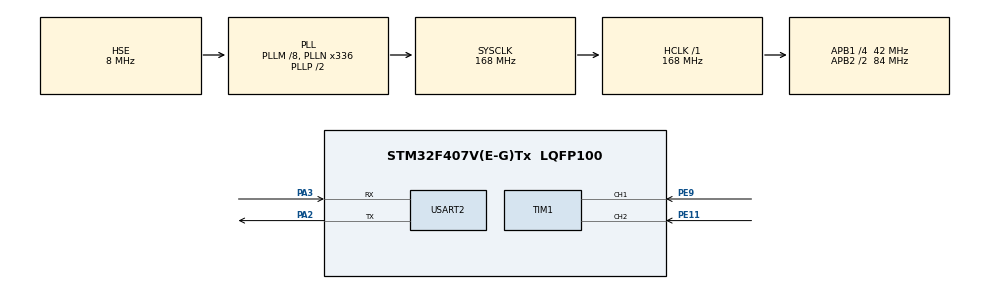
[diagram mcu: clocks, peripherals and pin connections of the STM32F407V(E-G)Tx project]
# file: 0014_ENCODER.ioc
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Mcu.Family=STM32F4
Mcu.Name=STM32F407V(E-G)Tx
Mcu.Package=LQFP100
NVIC.PriorityGroup=NVIC_PRIORITYGROUP_0
NVIC.TIM1_UP_TIM10_IRQn=true\:0\:0\:false\:false\:true\:true\:true\:true
PA2.GPIO_PuPd=GPIO_PULLUP
PA2.Mode=Asynchronous
PA2.Signal=USART2_TX
PA3.GPIO_PuPd=GPIO_PULLUP
PA3.Mode=Asynchronous
PA3.Signal=USART2_RX
PE11.GPIO_ModeDefaultPP=GPIO_MODE_AF_OD
PE11.GPIO_PuPd=GPIO_PULLUP
PE11.GPIO_Speed=GPIO_SPEED_FREQ_VERY_HIGH
PE11.Signal=S_TIM1_CH2
PE9.GPIO_ModeDefaultPP=GPIO_MODE_AF_OD
PE9.GPIO_PuPd=GPIO_PULLUP
PE9.GPIO_Speed=GPIO_SPEED_FREQ_VERY_HIGH
PE9.Signal=S_TIM1_CH1
ProjectManager.HeapSize=0x200
ProjectManager.StackSize=0x400
ProjectManager.TargetToolchain=STM32CubeIDE
RCC.48MHZClocksFreq_Value=48000000
RCC.AHBFreq_Value=168000000
RCC.APB1CLKDivider=RCC_HCLK_DIV4
RCC.APB1Freq_Value=42000000
RCC.APB1TimFreq_Value=84000000
RCC.APB2CLKDivider=RCC_HCLK_DIV2
RCC.APB2Freq_Value=84000000
RCC.APB2TimFreq_Value=168000000
RCC.CortexFreq_Value=168000000
RCC.HCLKFreq_Value=168000000
RCC.HSE_VALUE=8000000
RCC.HSI_VALUE=16000000
RCC.LSE_VALUE=32768
RCC.PLLM=8
RCC.PLLN=336
RCC.PLLQ=7
RCC.PLLSourceVirtual=RCC_PLLSOURCE_HSE
RCC.SYSCLKFreq_VALUE=168000000
RCC.SYSCLKSource=RCC_SYSCLKSOURCE_PLLCLK
RCC.VCOOutputFreq_Value=336000000
SH.S_TIM1_CH1.0=TIM1_CH1,Encoder_Interface
SH.S_TIM1_CH2.0=TIM1_CH2,Encoder_Interface
TIM1.EncoderMode=TIM_ENCODERMODE_TI12
TIM1.IC1Polarity=TIM_ICPOLARITY_FALLING
TIM1.IC2Polarity=TIM_ICPOLARITY_FALLING
USART2.VirtualMode=VM_ASYNC
board=STM32F407G-DISC1

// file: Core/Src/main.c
/* USER CODE BEGIN Header */
/**
  ******************************************************************************
  * @file           : main.c
  * @brief          : Main program body
  ******************************************************************************
  * @attention
  *
  * Copyright (c) 2025 STMicroelectronics.
  * All rights reserved.
  *
  * This software is licensed under terms that can be found in the LICENSE file
  * in the root directory of this software component.
  * If no LICENSE file comes with this software, it is provided AS-IS.
  *
  ******************************************************************************
  */
/* USER CODE END Header */
#include "main.h"

/* USER CODE BEGIN Includes */
#include <stdio.h>
#include <string.h>
/* USER CODE END Includes */

/* USER CODE BEGIN PD */
#define encoderPeriod 65535
#define halfEncoderPeriod 32768
#define encoderTotalCount encoderPeriod+1
#define CPR 8192
/* USER CODE END PD */

TIM_HandleTypeDef htim1;

UART_HandleTypeDef huart2;

/* USER CODE BEGIN PV */
int32_t volatile globalPosition = 0;
uint32_t volatile currentEncoderVal = 0;
int32_t volatile oldEncoderVal = 0;
int32_t volatile difference = 0;

/* USER CODE END PV */

void SystemClock_Config(void);
static void MX_GPIO_Init(void);
static void MX_TIM1_Init(void);
static void MX_USART2_UART_Init(void);

/* USER CODE BEGIN 0 */
void updateEncoder(){
	currentEncoderVal = TIM1 -> CNT;
	difference = currentEncoderVal - oldEncoderVal;

	if(difference >= halfEncoderPeriod){
		difference -= encoderTotalCount;
	}
	else if(difference <= -halfEncoderPeriod){
		difference += encoderTotalCount;
	}

	globalPosition += difference;
	oldEncoderVal = currentEncoderVal;
}

/* USER CODE END 0 */

int main(void)
{

  /* MCU Configuration--------------------------------------------------------*/

  /* Reset of all peripherals, Initializes the Flash interface and the Systick. */
  HAL_Init();

  /* Configure the system clock */
  SystemClock_Config();

  /* Initialize all configured peripherals */
  MX_GPIO_Init();
  MX_TIM1_Init();
  MX_USART2_UART_Init();
  /* USER CODE BEGIN 2 */
  HAL_TIM_Encoder_Start(&htim1, TIM_CHANNEL_ALL);

  char start[] = "MAIN BEGIN! \r\n";
  HAL_UART_Transmit(&huart2, (uint8_t*) start, sizeof(start), HAL_MAX_DELAY);
  /* USER CODE END 2 */

  /* Infinite loop */
  while (1)
  {

    /* USER CODE BEGIN 3 */
	  updateEncoder();

	  char UART_buffer[64];
	  int len = sprintf(UART_buffer, "Encoder Position: %ld\r\n", globalPosition);
    // Transmit over UART
	  HAL_UART_Transmit(&huart2, (uint8_t*)UART_buffer, len, 100);
      HAL_Delay(100); // Poll every 100ms
  }
  /* USER CODE END 3 */
}

void SystemClock_Config(void)
{
  RCC_OscInitTypeDef RCC_OscInitStruct = {0};
  RCC_ClkInitTypeDef RCC_ClkInitStruct = {0};

  /** Configure the main internal regulator output voltage
  */
  __HAL_RCC_PWR_CLK_ENABLE();
  __HAL_PWR_VOLTAGESCALING_CONFIG(PWR_REGULATOR_VOLTAGE_SCALE1);

  /** Initializes the RCC Oscillators according to the specified parameters
  * in the RCC_OscInitTypeDef structure.
  */
  RCC_OscInitStruct.OscillatorType = RCC_OSCILLATORTYPE_HSE;
  RCC_OscInitStruct.HSEState = RCC_HSE_OFF;
  RCC_OscInitStruct.PLL.PLLState = RCC_PLL_ON;
  RCC_OscInitStruct.PLL.PLLSource = RCC_PLLSOURCE_HSE;
  RCC_OscInitStruct.PLL.PLLM = 8;
  RCC_OscInitStruct.PLL.PLLN = 336;
  RCC_OscInitStruct.PLL.PLLP = RCC_PLLP_DIV2;
  RCC_OscInitStruct.PLL.PLLQ = 7;
  if (HAL_RCC_OscConfig(&RCC_OscInitStruct) != HAL_OK)
  {
    Error_Handler();
  }

  /** Initializes the CPU, AHB and APB buses clocks
  */
  RCC_ClkInitStruct.ClockType = RCC_CLOCKTYPE_HCLK|RCC_CLOCKTYPE_SYSCLK
                              |RCC_CLOCKTYPE_PCLK1|RCC_CLOCKTYPE_PCLK2;
  RCC_ClkInitStruct.SYSCLKSource = RCC_SYSCLKSOURCE_PLLCLK;
  RCC_ClkInitStruct.AHBCLKDivider = RCC_SYSCLK_DIV1;
  RCC_ClkInitStruct.APB1CLKDivider = RCC_HCLK_DIV4;
  RCC_ClkInitStruct.APB2CLKDivider = RCC_HCLK_DIV2;

  if (HAL_RCC_ClockConfig(&RCC_ClkInitStruct, FLASH_LATENCY_5) != HAL_OK)
  {
    Error_Handler();
  }
}

static void MX_TIM1_Init(void)
{

  TIM_Encoder_InitTypeDef sConfig = {0};
  TIM_MasterConfigTypeDef sMasterConfig = {0};

  htim1.Instance = TIM1;
  htim1.Init.Prescaler = 0;
  htim1.Init.CounterMode = TIM_COUNTERMODE_UP;
  htim1.Init.Period = 65535;
  htim1.Init.ClockDivision = TIM_CLOCKDIVISION_DIV1;
  htim1.Init.RepetitionCounter = 0;
  htim1.Init.AutoReloadPreload = TIM_AUTORELOAD_PRELOAD_DISABLE;
  sConfig.EncoderMode = TIM_ENCODERMODE_TI12;
  sConfig.IC1Polarity = TIM_ICPOLARITY_FALLING;
  sConfig.IC1Selection = TIM_ICSELECTION_DIRECTTI;
  sConfig.IC1Prescaler = TIM_ICPSC_DIV1;
  sConfig.IC1Filter = 0;
  sConfig.IC2Polarity = TIM_ICPOLARITY_FALLING;
  sConfig.IC2Selection = TIM_ICSELECTION_DIRECTTI;
  sConfig.IC2Prescaler = TIM_ICPSC_DIV1;
  sConfig.IC2Filter = 0;
  if (HAL_TIM_Encoder_Init(&htim1, &sConfig) != HAL_OK)
  {
    Error_Handler();
  }
  sMasterConfig.MasterOutputTrigger = TIM_TRGO_RESET;
  sMasterConfig.MasterSlaveMode = TIM_MASTERSLAVEMODE_DISABLE;
  if (HAL_TIMEx_MasterConfigSynchronization(&htim1, &sMasterConfig) != HAL_OK)
  {
    Error_Handler();
  }

}

static void MX_USART2_UART_Init(void)
{

  huart2.Instance = USART2;
  huart2.Init.BaudRate = 115200;
  huart2.Init.WordLength = UART_WORDLENGTH_8B;
  huart2.Init.StopBits = UART_STOPBITS_1;
  huart2.Init.Parity = UART_PARITY_NONE;
  huart2.Init.Mode = UART_MODE_TX_RX;
  huart2.Init.HwFlowCtl = UART_HWCONTROL_NONE;
  huart2.Init.OverSampling = UART_OVERSAMPLING_16;
  if (HAL_UART_Init(&huart2) != HAL_OK)
  {
    Error_Handler();
  }

}

static void MX_GPIO_Init(void)
{

  /* GPIO Ports Clock Enable */
  __HAL_RCC_GPIOA_CLK_ENABLE();
  __HAL_RCC_GPIOE_CLK_ENABLE();

}

void Error_Handler(void)
{
  __disable_irq();
  while (1)
  {
  }
}
